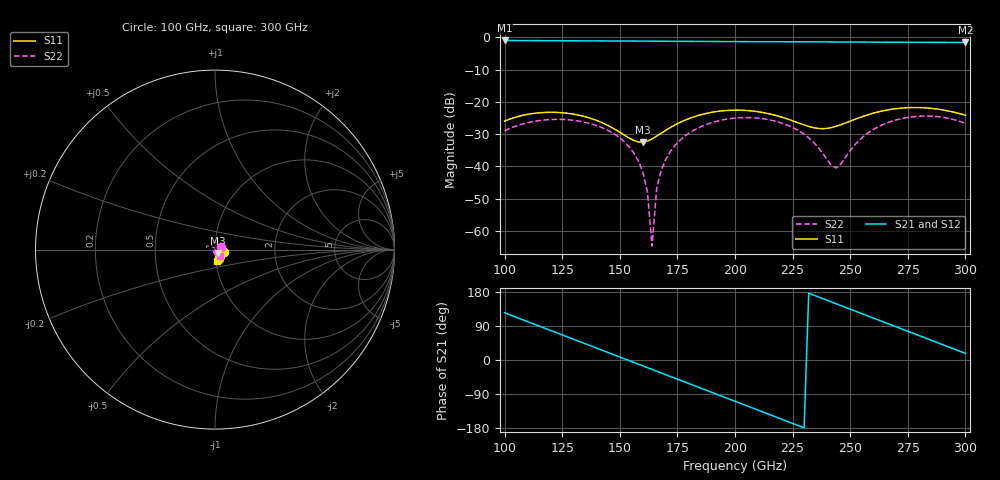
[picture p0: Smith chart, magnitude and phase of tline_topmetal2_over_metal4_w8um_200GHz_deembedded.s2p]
! Created with skrf 2.0.1 (http://scikit-rf.org).
# GHz S DB R 50.0
!freq dBS11 angS11 dBS21 angS21 dBS12 angS12 dBS22 angS22
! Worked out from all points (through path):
!   101 points, 100 GHz to 300 GHz, reference 50 ohm
!   highest |S21| = -0.92 dB at 100 GHz (marker M1); lowest = -1.5 dB at 300 GHz (marker M2)
!   group delay of S21, straight-line fit = 6.49 ps
!   lowest |S11| = -32.5 dB at 160 GHz (marker M3), VSWR 1.05, Z = 51.4 - j1.96 ohm
!   |S11| at or under -10 dB: start of sweep to end of sweep
!   |S22| runs from -64.8 to -24.4 dB; largest |S21 - S12| = 1e-13
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100  -25.95 -14.0  -0.92 124.6  -0.92 124.6  -28.98 22.0
116  -23.32 -41.6  -0.98 87.2  -0.98 87.2  -25.70 -4.0
124  -23.30 -55.9  -1.01 68.6  -1.01 68.6  -25.42 -18.7
134  -24.41 -72.1  -1.04 45.2  -1.04 45.2  -26.19 -37.9
150  -29.42 -82.6  -1.09 7.8  -1.09 7.8  -31.16 -69.7
156  -31.92 -69.7  -1.11 -6.2  -1.11 -6.2  -35.74 -81.5
160  -32.48 -53.2  -1.13 -15.6  -1.13 -15.6  -41.76 -88.1
162  -32.14 -44.8  -1.14 -20.2  -1.14 -20.2  -47.98 -88.6
164  -31.48 -37.8  -1.14 -24.9  -1.14 -24.9  -64.77 18.5
166  -30.62 -32.7  -1.15 -29.6  -1.15 -29.6  -46.82 69.2
168  -29.70 -29.3  -1.16 -34.3  -1.16 -34.3  -41.12 68.0
172  -27.92 -26.8  -1.17 -43.6  -1.17 -43.6  -35.32 61.0
180  -25.17 -31.2  -1.20 -62.3  -1.20 -62.3  -29.72 44.3
190  -23.21 -43.6  -1.24 -85.6  -1.24 -85.6  -26.40 22.3
200  -22.56 -58.0  -1.27 -108.9  -1.27 -108.9  -25.02 -0.4
218  -24.25 -79.1  -1.32 -150.9  -1.32 -150.9  -26.07 -44.1
234  -27.98 -72.0  -1.36 171.7  -1.36 171.7  -32.48 -94.3
244  -27.55 -50.9  -1.38 148.3  -1.38 148.3  -40.48 169.9
256  -24.38 -44.7  -1.42 120.2  -1.42 120.2  -30.57 74.6
268  -22.28 -54.2  -1.46 92.2  -1.46 92.2  -25.99 37.1
282  -21.81 -69.8  -1.50 59.5  -1.50 59.5  -24.39 -1.2
300  -24.12 -81.7  -1.54 17.5  -1.54 17.5  -26.67 -53.4
